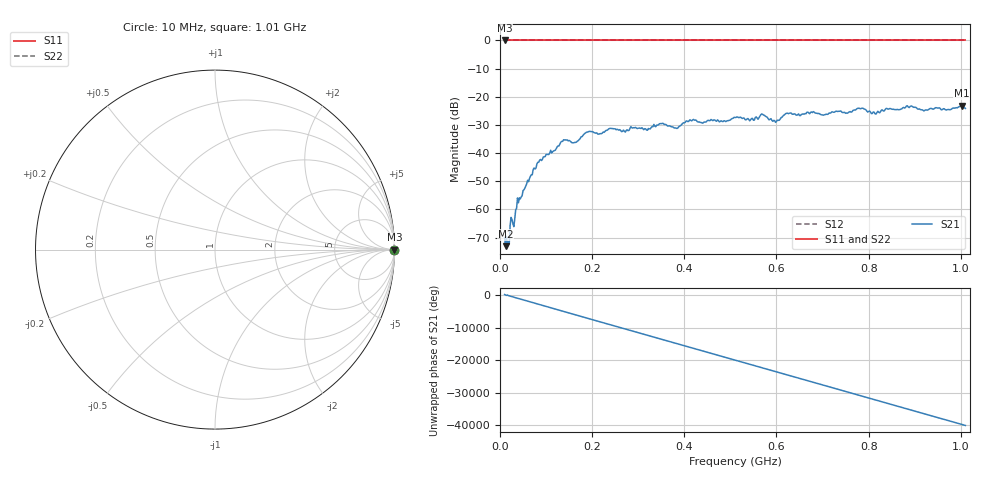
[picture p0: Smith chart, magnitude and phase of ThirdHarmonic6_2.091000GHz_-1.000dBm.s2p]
! 8/17/2025 1:01:46 AM
! C:\ANRITSUVNA\TEMP\TEMP.S2P
! CHANNEL.1
! TR.MEASUREMENT
! RAW.DATA
! RF.CORRECTION.OFF
! AVERAGING.OFF
! IF.BANDWIDTH: 5KHZ
! SWEEPTYPE:  FREQ.SWEEP(Linear)
! Reference Plane Port Info
! PORT:  PORT1  PORT2
! DISTANCE:  0  m  0  m
! TIME:  0  s  0  s
! PHASE.OFFSET:  0  deg.  0  deg.
! LOSS:  0  dB  0  dB
! REF.LOSS:  0  dB  0  dB
! REF.FREQ:  0  Hz  0  Hz
! Power Info
! POWER:  -20  dBm  -20  dBm
! EFF.POWER:  -20  dBm  -20  dBm
! SOURCE.ATTEN:  0  dB  0  dB
! TEST.ATTEN:  0  dB  0  dB
# GHZ S RI R 50.0
! FREQ.GHZ  S11RE  S11IM  S21RE  S21IM  S12RE  S12IM  S22RE  S22IM
!; PortSelection: Port_12
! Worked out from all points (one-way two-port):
!   501 points, 10 MHz to 1.01 GHz, reference 50 ohm
!   highest |S21| = -23.17 dB at 1.002 GHz (marker M1); lowest = -73.1 dB at 12 MHz (marker M2)
!   lowest |S11| = 0.0 dB at 10 MHz (marker M3)
!   |S11| at or under -10 dB: nowhere
!   |S22| runs from 0.0 to 0.0 dB; largest |S21 - S12| = 1.1
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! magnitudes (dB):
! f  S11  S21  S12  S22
! 10 MHz  0.0  -70.0  0.0  0.0
! 12 MHz  0.0  -73.1  0.0  0.0
! 16 MHz  0.0  -72.1  0.0  0.0
! 42 MHz  0.0  -55.9  0.0  0.0
! 84 MHz  0.0  -43.3  0.0  0.0
! 136 MHz  0.0  -35.8  0.0  0.0
! 162 MHz  0.0  -36.2  0.0  0.0
! 178 MHz  0.0  -34.2  0.0  0.0
! 344 MHz  0.0  -29.9  0.0  0.0
! 382 MHz  0.0  -31.1  0.0  0.0
! 416 MHz  0.0  -28.6  0.0  0.0
! 510 MHz  0.0  -27.4  0.0  0.0
! 546 MHz  0.0  -27.7  0.0  0.0
! 570 MHz  0.0  -26.2  0.0  0.0
! 596 MHz  0.0  -28.5  0.0  0.0
! 624 MHz  0.0  -25.8  0.0  0.0
! 678 MHz  0.0  -25.6  0.0  0.0
! 784 MHz  0.0  -24.2  0.0  0.0
! 812 MHz  0.0  -25.5  0.0  0.0
! 844 MHz  0.0  -24.3  0.0  0.0
! 1.002 GHz  0.0  -23.2  0.0  0.0
! 1.01 GHz  0.0  -24.1  0.0  0.0
